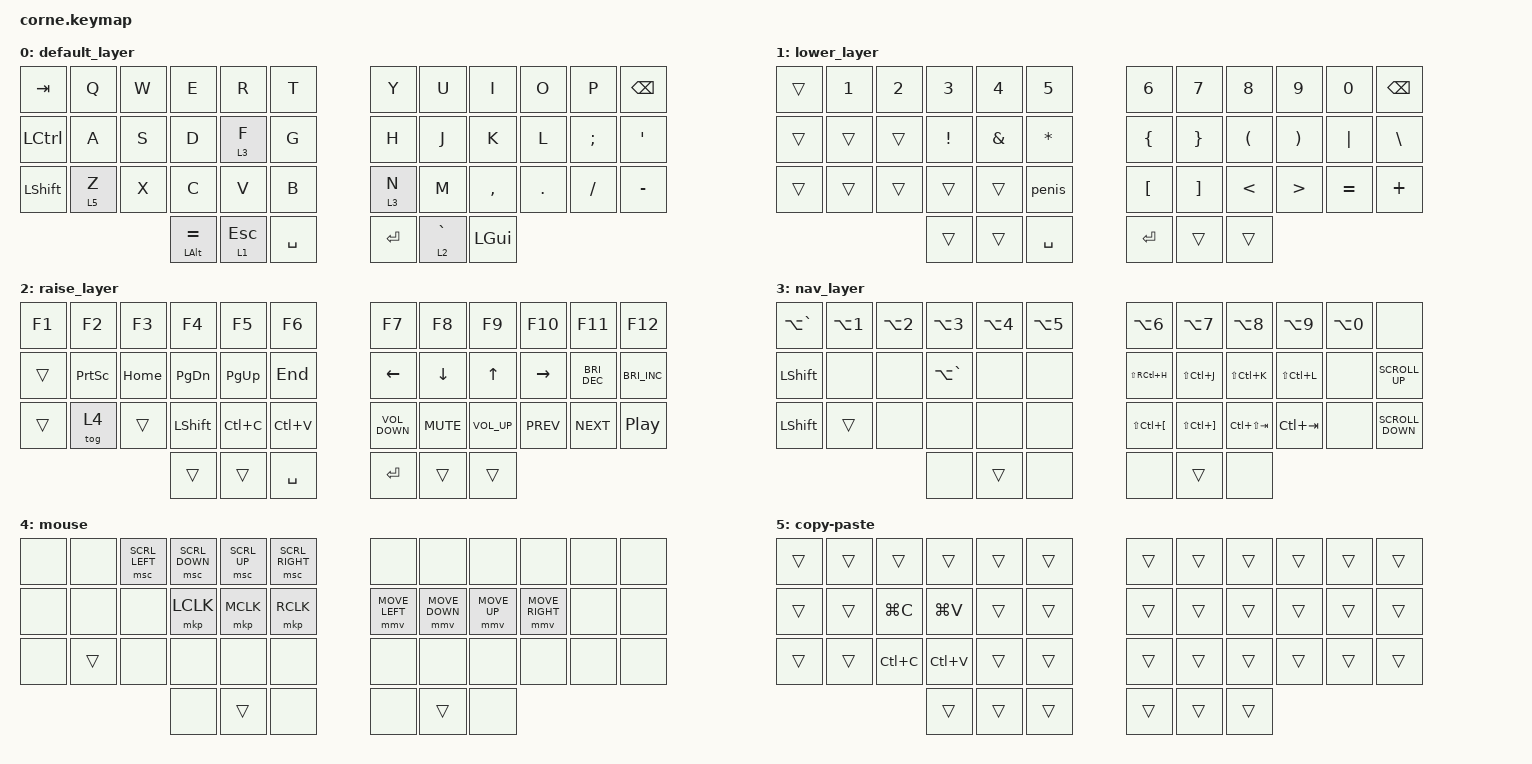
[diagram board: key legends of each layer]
/*
 * Copyright (c) 2020 The ZMK Contributors
 *
 * SPDX-License-Identifier: MIT
 */

#include <behaviors.dtsi>
#include <dt-bindings/zmk/keys.h>
#include <dt-bindings/zmk/pointing.h>

/ {
    combos { compatible = "zmk,combos"; };

    macros {
        penis: penis {
            compatible = "zmk,behavior-macro";
            #binding-cells = <0>;
            bindings = <&kp COLON &kp EQUAL>;
            label = "PENIS";
        };
    };

    keymap {
        compatible = "zmk,keymap";

        default_layer {
            // -----------------------------------------------------------------------------------------
            // |  TAB |  Q  |  W  |  E  |  R  |  T  |   |  Y  |  U   |  I  |  O  |  P  | BSPC |
            // | CTRL |  A  |  S  |  D  |  F  |  G  |   |  H  |  J   |  K  |  L  |  ;  |  '   |
            // | SHFT |  Z  |  X  |  C  |  V  |  B  |   |  N  |  M   |  ,  |  .  |  /  | ESC  |
            //                    | GUI | LWR | SPC |   | ENT | RSE  | ALT |

            bindings = <
&kp TAB    &kp Q    &kp W  &kp E               &kp R         &kp T        &kp Y    &kp U        &kp I      &kp O    &kp P     &kp BSPC
&kp LCTRL  &kp A    &kp S  &kp D               &lt 3 F       &kp G        &kp H    &kp J        &kp K      &kp L    &kp SEMI  &kp SQT
&kp LSHFT  &lt 5 Z  &kp X  &kp C               &kp V         &kp B        &lt 3 N  &kp M        &kp COMMA  &kp DOT  &kp FSLH  &kp MINUS
                           &mt LEFT_ALT EQUAL  &lt 1 ESCAPE  &kp SPACE    &kp RET  &lt 2 GRAVE  &kp LGUI
            >;
        };

        lower_layer {
            // -----------------------------------------------------------------------------------------
            // |  TAB |  1  |  2  |  3  |  4  |  5  |   |  6  |  7  |  8  |  9  |  0  | BSPC |
            // | BTCLR| BT1 | BT2 | BT3 | BT4 | BT5 |   | LFT | DWN |  UP | RGT |     |      |
            // | SHFT |     |     |     |     |     |   |     |     |     |     |     |      |
            //                    | GUI |     | SPC |   | ENT |     | ALT |

            bindings = <
&trans  &kp N1  &kp N2  &kp N3           &kp N4    &kp N5          &kp NUMBER_6    &kp N7           &kp N8                &kp N9                 &kp N0     &kp BSPC
&trans  &trans  &trans  &kp EXCLAMATION  &kp AMPS  &kp ASTERISK    &kp LEFT_BRACE  &kp RIGHT_BRACE  &kp LEFT_PARENTHESIS  &kp RIGHT_PARENTHESIS  &kp PIPE   &kp BACKSLASH
&trans  &trans  &trans  &trans           &trans    &penis          &kp LBKT        &kp RBKT         &kp LESS_THAN         &kp GREATER_THAN       &kp EQUAL  &kp PLUS
                        &trans           &trans    &kp SPACE       &kp RET         &trans           &trans
            >;
        };

        raise_layer {
            // -----------------------------------------------------------------------------------------
            // |  TAB |  !  |  @  |  #  |  $  |  %  |   |  ^  |  &  |  *  |  (  |  )  | BSPC |
            // | CTRL |     |     |     |     |     |   |  -  |  =  |  [  |  ]  |  \  |  `   |
            // | SHFT |     |     |     |     |     |   |  _  |  +  |  {  |  }  | "|" |  ~   |
            //                    | GUI |     | SPC |   | ENT |     | ALT |

            bindings = <
&kp F1  &kp F2           &kp F3    &kp F4          &kp F5     &kp F6       &kp F7             &kp F8          &kp F9           &kp F10     &kp F11               &kp F12
&trans  &kp PRINTSCREEN  &kp HOME  &kp PG_DN       &kp PG_UP  &kp END      &kp LEFT_ARROW     &kp DOWN_ARROW  &kp UP_ARROW     &kp RIGHT   &kp C_BRIGHTNESS_DEC  &kp C_BRIGHTNESS_INC
&trans  &tog 4           &trans    &kp LEFT_SHIFT  &kp LC(C)  &kp LC(V)    &kp C_VOLUME_DOWN  &kp C_MUTE      &kp C_VOLUME_UP  &kp C_PREV  &kp C_NEXT            &kp C_PLAY_PAUSE
                                   &trans          &trans     &kp SPACE    &kp RET            &trans          &trans
            >;
        };

        nav_layer {
            bindings = <
&kp LA(GRAVE)   &kp LA(N1)  &kp LA(N2)  &kp LA(N3)     &kp LA(N4)  &kp LA(N5)    &kp LA(N6)        &kp LA(N7)        &kp LA(N8)       &kp LA(N9)     &kp LA(N0)  &none
&kp LSHFT       &none       &none       &kp LA(GRAVE)  &none       &none         &kp LS(RC(H))     &kp LS(LC(J))     &kp LS(LC(K))    &kp LS(LC(L))  &none       &kp K_SCROLL_UP
&kp LEFT_SHIFT  &trans      &none       &none          &none       &none         &kp LS(LC(LBKT))  &kp LS(LC(RBKT))  &kp LC(LS(TAB))  &kp LC(TAB)    &none       &kp K_SCROLL_DOWN
                                        &none          &trans      &none         &none             &trans            &none
            >;
        };

        mouse {
            bindings = <
&none  &none   &msc SCRL_LEFT  &msc SCRL_DOWN  &msc SCRL_UP  &msc SCRL_RIGHT    &none           &none           &none         &none            &none  &none
&none  &none   &none           &mkp LCLK       &mkp MCLK     &mkp RCLK          &mmv MOVE_LEFT  &mmv MOVE_DOWN  &mmv MOVE_UP  &mmv MOVE_RIGHT  &none  &none
&none  &trans  &none           &none           &none         &none              &none           &none           &none         &none            &none  &none
                               &none           &trans        &none              &none           &trans          &none
            >;
        };

        copy-paste {
            bindings = <
&trans  &trans  &trans     &trans     &trans  &trans    &trans  &trans  &trans  &trans  &trans  &trans
&trans  &trans  &kp LG(C)  &kp LG(V)  &trans  &trans    &trans  &trans  &trans  &trans  &trans  &trans
&trans  &trans  &kp LC(C)  &kp LC(V)  &trans  &trans    &trans  &trans  &trans  &trans  &trans  &trans
                           &trans     &trans  &trans    &trans  &trans  &trans
            >;
        };
    };

    conditional_layers { compatible = "zmk,conditional-layers"; };
};
